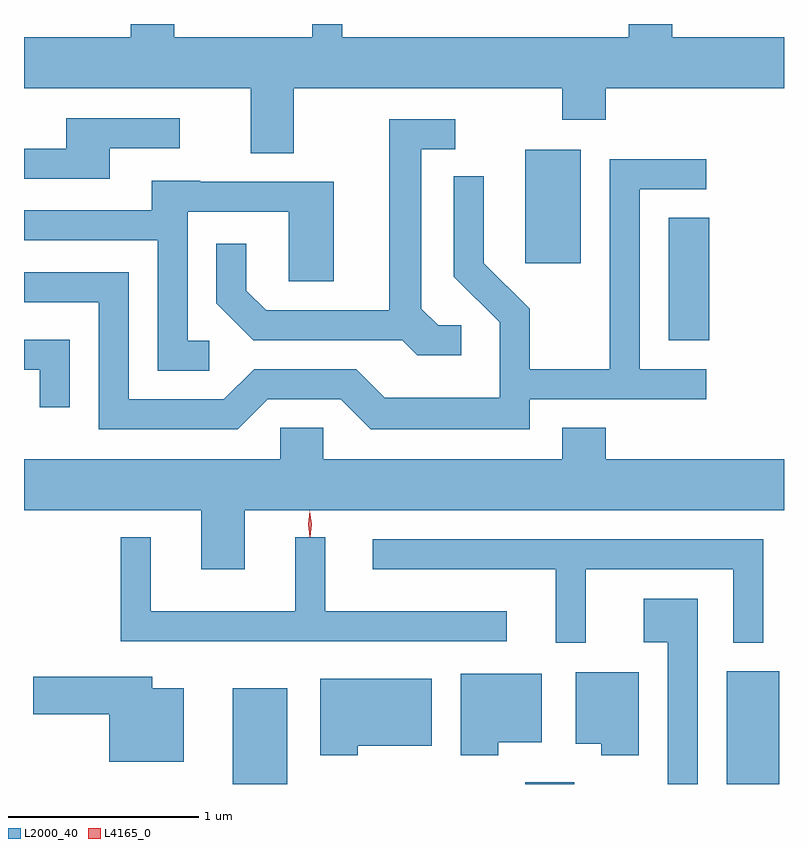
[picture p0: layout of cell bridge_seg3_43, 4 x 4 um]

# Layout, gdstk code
import gdstk
lib = gdstk.Library(unit=1e-6, precision=1e-09)
def R(c, l, rs):  # rectangles x0, y0, x1, y1
    for r in rs: c.add(gdstk.rectangle(r[:2], r[2:], *l))
def P(c, l, *ps):  # polygons
    for p in ps: c.add(gdstk.Polygon(p, *l))
L2000_40 = (2000, 40)
L4165_0 = (4165, 0)

bridge_seg3_43 = lib.new_cell('bridge_seg3_43')
R(bridge_seg3_43, L2000_40, [(1183.496,1197.835,1183.784,1198.339), (1185.036,1197.835,1185.294,1197.844), (1186.096,1197.835,1186.374,1198.429), (1185.791,1200.171,1186.004,1200.814), (1185.036,1200.576,1185.329,1201.174)])
P(bridge_seg3_43, L2000_40, [(1183.819,1201.496),(1185.231,1201.496),(1185.231,1201.331),(1185.459,1201.331),(1185.459,1201.496),(1186.398,1201.496),(1186.398,1201.764),(1185.809,1201.764),(1185.809,1201.835),(1185.581,1201.835),(1185.581,1201.764),(1184.074,1201.764),(1184.074,1201.835),(1183.916,1201.835),(1183.916,1201.764),(1183.189,1201.764),(1183.189,1201.835),(1182.961,1201.835),(1182.961,1201.764),(1182.398,1201.764),(1182.398,1201.496),(1183.591,1201.496),(1183.591,1201.156),(1183.819,1201.156)],
  [(1182.849,1201.181),(1183.218,1201.181),(1183.218,1201.339),(1182.621,1201.339),(1182.621,1201.179),(1182.398,1201.179),(1182.398,1201.021),(1182.849,1201.021)],
  [(1184.698,1200.249),(1184.577,1200.249),(1184.489,1200.337),(1184.489,1201.176),(1184.668,1201.176),(1184.668,1201.334),(1184.321,1201.334),(1184.321,1200.329),(1183.672,1200.329),(1183.569,1200.432),(1183.569,1200.678),(1183.411,1200.678),(1183.411,1200.364),(1183.604,1200.171),(1184.389,1200.171),(1184.469,1200.091),(1184.698,1200.091)],
  [(1183.682,1199.861),(1184.064,1199.861),(1184.224,1199.701),(1185.059,1199.701),(1185.059,1199.861),(1185.988,1199.861),(1185.988,1200.019),(1185.639,1200.019),(1185.639,1200.966),(1185.988,1200.966),(1185.988,1201.124),(1185.481,1201.124),(1185.481,1200.019),(1185.059,1200.019),(1185.059,1200.337),(1184.819,1200.577),(1184.819,1201.033),(1184.661,1201.033),(1184.661,1200.504),(1184.901,1200.264),(1184.901,1199.869),(1184.297,1199.869),(1184.147,1200.019),(1183.609,1200.019),(1183.449,1199.859),(1182.949,1199.859),(1182.949,1200.529),(1182.398,1200.529),(1182.398,1200.371),(1182.791,1200.371),(1182.791,1199.701),(1183.522,1199.701)],
  [(1183.373,1200.169),(1183.259,1200.169),(1183.259,1200.846),(1183.791,1200.846),(1183.791,1200.481),(1184.029,1200.481),(1184.029,1201.004),(1183.325,1201.004),(1183.325,1201.009),(1183.071,1201.009),(1183.071,1200.854),(1182.398,1200.854),(1182.398,1200.696),(1183.101,1200.696),(1183.101,1200.011),(1183.373,1200.011)],
  [(1182.639,1200.174),(1182.398,1200.174),(1182.398,1200.016),(1182.481,1200.016),(1182.481,1199.818),(1182.639,1199.818)],
  [(1185.231,1199.709),(1185.231,1199.544),(1183.974,1199.544),(1183.974,1199.709),(1183.746,1199.709),(1183.746,1199.544),(1182.398,1199.544),(1182.398,1199.276),(1183.331,1199.276),(1183.331,1198.966),(1183.559,1198.966),(1183.559,1199.276),(1186.398,1199.276),(1186.398,1199.544),(1185.459,1199.544),(1185.459,1199.709)],
  [(1184.938,1198.744),(1183.984,1198.744),(1183.984,1199.133),(1183.826,1199.133),(1183.826,1198.744),(1183.064,1198.744),(1183.064,1199.133),(1182.906,1199.133),(1182.906,1198.586),(1184.938,1198.586)],
  [(1185.354,1198.966),(1186.131,1198.966),(1186.131,1198.578),(1186.289,1198.578),(1186.289,1199.124),(1184.233,1199.124),(1184.233,1198.966),(1185.196,1198.966),(1185.196,1198.578),(1185.354,1198.578)],
  [(1185.944,1198.809),(1185.661,1198.809),(1185.661,1198.581),(1185.786,1198.581),(1185.786,1197.835),(1185.944,1197.835)],
  [(1185.634,1198.424),(1185.301,1198.424),(1185.301,1198.046),(1185.436,1198.046),(1185.436,1197.986),(1185.634,1197.986)],
  [(1184.894,1198.056),(1185.124,1198.056),(1185.124,1198.414),(1184.696,1198.414),(1184.696,1197.986),(1184.894,1197.986)],
  [(1183.239,1198.339),(1183.074,1198.339),(1183.074,1198.399),(1182.446,1198.399),(1182.446,1198.201),(1182.846,1198.201),(1182.846,1197.951),(1183.239,1197.951)],
  [(1184.154,1198.036),(1184.544,1198.036),(1184.544,1198.389),(1183.956,1198.389),(1183.956,1197.986),(1184.154,1197.986)])
P(bridge_seg3_43, L4165_0, [(1183.902,1199.135),(1183.893,1199.203),(1183.902,1199.271),(1183.902,1199.272),(1183.903,1199.271),(1183.912,1199.203),(1183.904,1199.135),(1183.903,1199.135)])

lib.write_gds('bridge_seg3_43.gds')
